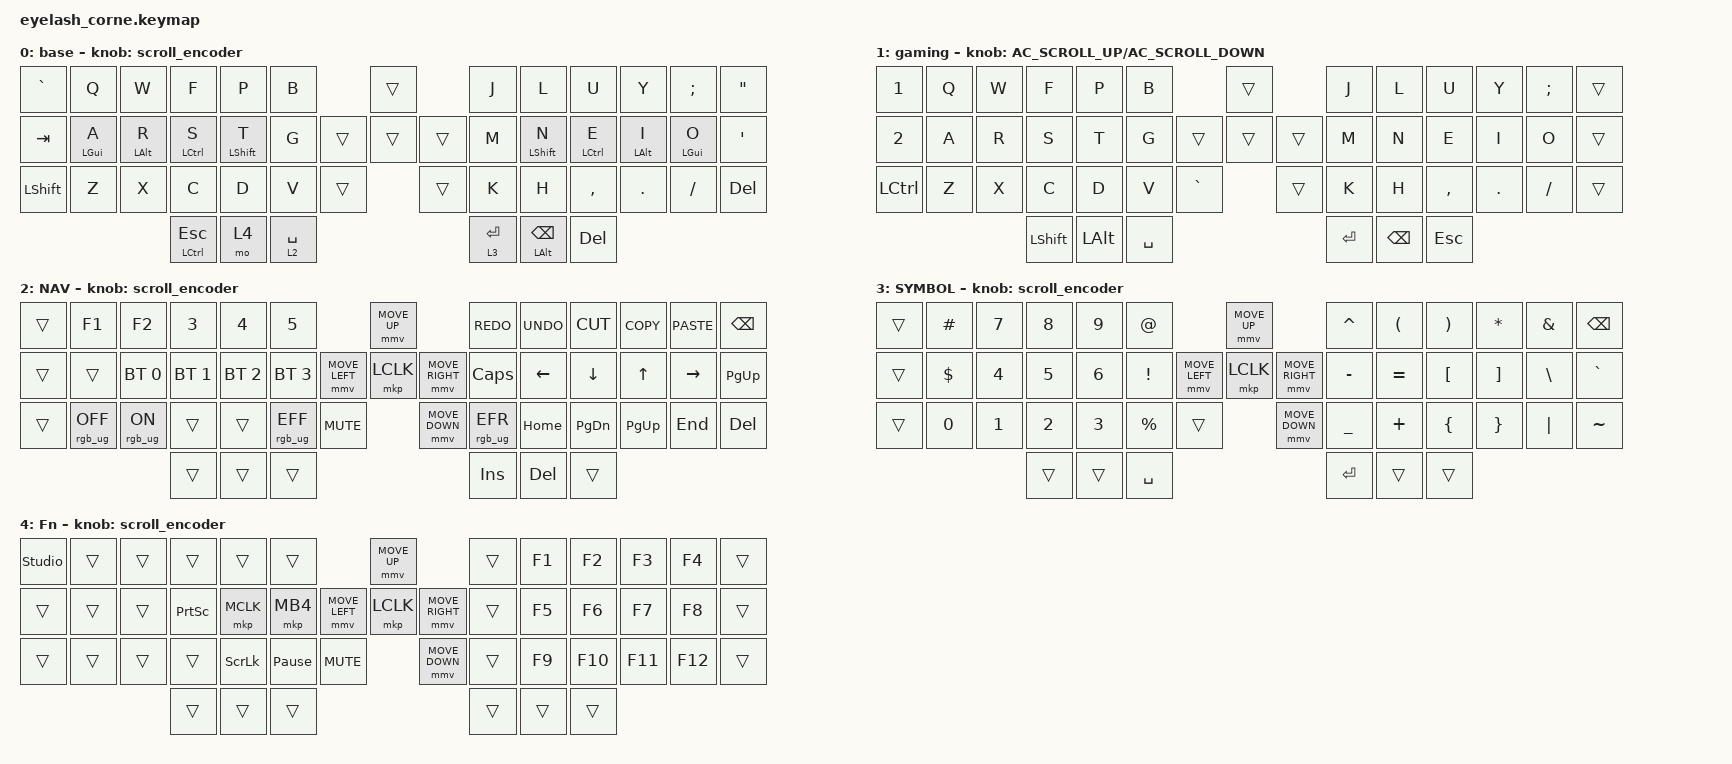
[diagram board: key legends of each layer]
#define ZMK_POINTING_DEFAULT_MOVE_VAL 1200  // 600
#define ZMK_POINTING_DEFAULT_SCRL_VAL 25   // 10

#include <input/processors.dtsi>
#include <zephyr/dt-bindings/input/input-event-codes.h>
#include <behaviors.dtsi>
#include <dt-bindings/zmk/bt.h>
#include <dt-bindings/zmk/keys.h>
#include <dt-bindings/zmk/pointing.h>
#include <dt-bindings/zmk/rgb.h>

&mmv_input_listener { input-processors = <&zip_xy_scaler 2 1>; };

&msc_input_listener { input-processors = <&zip_scroll_scaler 2 1>; };

&msc {
    acceleration-exponent = <1>;      // 0
    time-to-max-speed-ms = <100>;       // 300
    delay-ms = <0>;                   // 0
};

&mmv {
    time-to-max-speed-ms = <500>;
    acceleration-exponent = <1>;
    trigger-period-ms = <16>;
};

/ {
    behaviors {
        td0: td0 {
            compatible = "zmk,behavior-tap-dance";
            display-name = "Shift/Caps Lock Tap Dance";
            #binding-cells = <0>;
            bindings = <&kp LEFT_SHIFT>, <&kp CAPS>;
        };

        td_esc: td_esc {
            compatible = "zmk,behavior-tap-dance";
            label = "TD_ESC";
            #binding-cells = <0>;
            bindings = <&kp NUMBER_3>, <&kp ESC>;

            tapping-term-ms = <200>;
        };

        td_1: td_1 {
            compatible = "zmk,behavior-tap-dance";
            label = "TD_1";
            #binding-cells = <0>;
            bindings = <&kp NUMBER_1>, <&kp UNDER>;
        };

        td_2: td_2 {
            compatible = "zmk,behavior-tap-dance";
            label = "TD_2";
            #binding-cells = <0>;
            bindings = <&kp NUMBER_2>, <&kp MINUS>;
        };

        hml: home_row_mod_left {
            compatible = "zmk,behavior-hold-tap";
            #binding-cells = <2>;
            flavor = "balanced";
            tapping-term-ms = <220>;
            quick-tap-ms = <150>;
            require-prior-idle-ms = <175>;
            bindings = <&kp>, <&kp>;
            hold-trigger-key-positions = <7 8 9 10 11 12 22 23 24 25 26 27 36 37 38 39 40 41 45 46 47>;
            hold-trigger-on-release;
        };

        hmr: home_row_mod_right {
            compatible = "zmk,behavior-hold-tap";
            #binding-cells = <2>;
            flavor = "balanced";
            tapping-term-ms = <220>;
            quick-tap-ms = <150>;
            require-prior-idle-ms = <175>;
            bindings = <&kp>, <&kp>;
            hold-trigger-key-positions = <0 1 2 3 4 5 13 14 15 16 17 18 28 29 30 31 32 33 34 42 43 44>;
            hold-trigger-on-release;
        };
    };

    rgb_encoder: rgb_encoder {
        compatible = "zmk,behavior-sensor-rotate";
        #sensor-binding-cells = <0>;
        bindings = <&rgb_ug RGB_BRI>, <&rgb_ug RGB_BRD>;
    };

    scroll_encoder: scroll_encoder {
        compatible = "zmk,behavior-sensor-rotate";
        #sensor-binding-cells = <0>;
        bindings = <&msc SCRL_DOWN>, <&msc SCRL_UP>;

        tap-ms = <100>;
    };

    macros {
        new_macro: new_macro {
            compatible = "zmk,behavior-macro";
            #binding-cells = <0>;
            bindings = <&none>, <&macro_press>;

            label = "NEW_MACRO";
        };
    };

    combos {
        compatible = "zmk,combos";

        bc {
            bindings = <&kp PLUS>;
            key-positions = <0 13>;
        };

        backpedal {
            bindings = <&kp NUMBER_0>;
            key-positions = <15 17>;
            layers = <1>;
        };

        autorun {
            bindings = <&kp NUMBER_4>;
            key-positions = <15 17 16>;
            layers = <1>;
        };

        mount {
            bindings = <&kp NUMBER_5>;
            key-positions = <15 3 17>;
            layers = <1>;
        };

        comma {
            bindings = <&kp COMMA>;
            key-positions = <13 28>;
        };

        gaming_on {
            bindings = <&to 1>;
            key-positions = <42 47>;
            layers = <0>;
            timeout-ms = <50>;
        };

        gaming_off {
            bindings = <&to 0>;
            key-positions = <42 47>;
            layers = <1>;
            timeout-ms = <50>;
        };

        safe_reset {
            bindings = <&sys_reset>;
            key-positions = <0 12>;
            layers = <4>;
            timeout-ms = <50>;
        };

        safe_bootloader {
            bindings = <&bootloader>;
            key-positions = <13 27>;
            layers = <4>;
            timeout-ms = <50>;
        };

        safe_bt_clear_all {
            bindings = <&bt BT_CLR_ALL>;
            key-positions = <28 41>;
            layers = <4>;
            timeout-ms = <50>;
        };
    };

    keymap {
        compatible = "zmk,keymap";

        base {
            bindings = <
&kp GRAVE           &kp Q           &kp W           &kp F             &kp P             &kp B                          &trans          &kp J      &kp L                   &kp U        &kp Y           &kp SEMI        &kp DOUBLE_QUOTES
&kp TAB             &hml LEFT_GUI A  &hml LEFT_ALT R  &hml LCTRL S      &hml LEFT_SHIFT T  &kp G                  &trans  &trans  &trans  &kp M      &hmr LEFT_SHIFT N        &hmr LCTRL E  &hmr LEFT_ALT I  &hmr LEFT_GUI O  &kp SQT
&kp LEFT_SHIFT      &kp Z            &kp X            &kp C             &kp D              &kp V        &trans            &trans          &kp K      &kp H                    &kp COMMA    &kp DOT         &kp FSLH        &kp DELETE
                                                      &mt LCTRL ESCAPE  &mo 4             &lt 2 SPACE                                    &lt 3 RET  &mt LEFT_ALT BACKSPACE  &kp DELETE
            >;

            sensor-bindings = <&scroll_encoder>;
        };

        gaming {
            bindings = <
&kp N1     &kp Q  &kp W  &kp F   &kp P  &kp B                           &trans          &kp J  &kp L      &kp U      &kp Y     &kp SEMI  &trans
&kp N2     &kp A  &kp R  &kp S   &kp T  &kp G                   &trans  &trans  &trans  &kp M  &kp N      &kp E      &kp I     &kp O     &trans
&kp LCTRL  &kp Z  &kp X  &kp C   &kp D  &kp V      &kp GRAVE            &trans          &kp K  &kp H      &kp COMMA  &kp DOT   &kp FSLH  &trans
                                  &kp LSHIFT  &kp LALT  &kp SPACE                                       &kp RET  &kp BSPC  &kp ESC
            >;

            sensor-bindings = <&inc_dec_kp C_AC_SCROLL_UP C_AC_SCROLL_DOWN>;
        };

        nav {
            display-name = "NAV";
            bindings = <
&trans  &kp F1           &kp F2          &kp N3        &kp N4        &kp N5                                         &mmv MOVE_UP                     &kp K_REDO       &kp K_UNDO  &kp K_CUT      &kp K_COPY    &kp K_PASTE  &kp BSPC
&trans  &trans           &bt BT_SEL 0    &bt BT_SEL 1  &bt BT_SEL 2  &bt BT_SEL 3                   &mmv MOVE_LEFT  &mkp LCLK       &mmv MOVE_RIGHT  &kp CAPSLOCK     &kp LEFT    &kp DOWN       &kp UP_ARROW  &kp RIGHT    &kp PG_UP
&trans  &rgb_ug RGB_OFF  &rgb_ug RGB_ON  &trans        &trans        &rgb_ug RGB_EFF  &kp C_MUTE                    &mmv MOVE_DOWN                   &rgb_ug RGB_EFR  &kp HOME    &kp PAGE_DOWN  &kp PAGE_UP   &kp END      &kp DELETE
                                         &trans        &trans        &trans                                                                          &kp INS          &kp DEL      &trans
            >;

            sensor-bindings = <&scroll_encoder>;
        };

        symbol {
            display-name = "SYMBOL";
            bindings = <
&trans  &kp HASH    &kp N7  &kp N8  &kp N9  &kp AT                                 &mmv MOVE_UP                     &kp CARET  &kp LEFT_PARENTHESIS  &kp RIGHT_PARENTHESIS  &kp ASTRK  &kp AMPS  &kp BSPC
&trans  &kp DOLLAR  &kp N4  &kp N5  &kp N6  &kp EXCL               &mmv MOVE_LEFT  &mkp LCLK       &mmv MOVE_RIGHT  &kp MINUS  &kp EQUAL             &kp LBKT               &kp RBKT   &kp BSLH  &kp GRAVE
&trans  &kp N0      &kp N1  &kp N2  &kp N3  &kp PERCENT  &trans                    &mmv MOVE_DOWN                   &kp UNDER  &kp PLUS              &kp LBRC               &kp RBRC   &kp PIPE  &kp TILDE
                            &trans  &trans  &kp SPACE                                                               &kp RET    &trans                &trans
            >;

            sensor-bindings = <&scroll_encoder>;
        };

        fn {
            display-name = "Fn";
            bindings = <
&studio_unlock  &trans       &trans      &trans           &trans         &trans                                         &mmv MOVE_UP                     &trans  &kp F1   &kp F2   &kp F3   &kp F4   &trans
&trans          &trans       &trans      &kp PRINTSCREEN  &mkp MCLK      &mkp MB4                       &mmv MOVE_LEFT  &mkp LCLK       &mmv MOVE_RIGHT  &trans  &kp F5   &kp F6   &kp F7   &kp F8   &trans
&trans          &trans       &trans      &trans           &kp SCROLLLOCK  &kp PAUSE_BREAK  &kp C_MUTE                    &mmv MOVE_DOWN                   &trans  &kp F9   &kp F10  &kp F11  &kp F12  &trans
                                         &trans           &trans         &trans                                                                   &trans  &trans    &trans
            >;

            sensor-bindings = <&scroll_encoder>;
        };
    };
};
